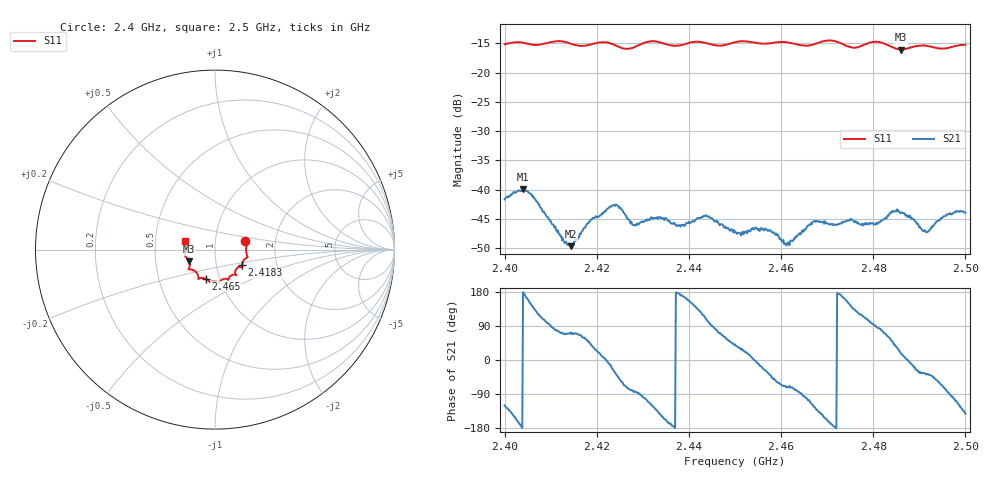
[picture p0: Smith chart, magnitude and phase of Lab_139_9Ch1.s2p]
# Hz S RI R 50
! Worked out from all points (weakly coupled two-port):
!   601 points, 2.4 GHz to 2.5 GHz, reference 50 ohm
!   highest |S21| = -39.97 dB at 2.404 GHz (marker M1); lowest = -49.7 dB at 2.4143 GHz (marker M2)
!   lowest |S11| = -16.0 dB at 2.486 GHz (marker M3), VSWR 1.38, Z = 37.1 - j4.98 ohm
!   |S11| at or under -10 dB: start of sweep to end of sweep
!   S12 and S22 are empty: the file has one direction only
!   S11 on the Smith chart (normalised r, x): 2.4 GHz: 1.40, +0.13; 2.4183 GHz: 1.33, -0.24; 2.465 GHz: 0.86, -0.29; 2.5 GHz: 0.71, +0.07
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2.4e9  0.1689 0.0455  -0.00414 -0.00713  0 0  0 0
2.404e9  0.1783 0.0269  -0.01 0.000217  0 0  0 0
2.406167e9  0.1731 0.00727  -0.00674 0.00572  0 0  0 0
2.414333e9  0.1704 -0.0487  0.000967 0.00314  0 0  0 0
2.416667e9  0.155 -0.0684  0.0019 0.0039  0 0  0 0
2.418333e9  0.1499 -0.0871  0.00356 0.00389  0 0  0 0
2.424e9  0.1422 -0.096  0.0061 -0.00396  0 0  0 0
2.428167e9  0.1135 -0.1205  0.000629 -0.00496  0 0  0 0
2.433333e9  0.1166 -0.1415  -0.00416 -0.00377  0 0  0 0
2.437667e9  0.0845 -0.148  -0.0049 0.000367  0 0  0 0
2.443833e9  0.0691 -0.1647  -0.00175 0.00572  0 0  0 0
2.45e9  0.0253 -0.1807  0.00328 0.00286  0 0  0 0
2.457e9  -0.01 -0.1772  0.00384 -0.0024  0 0  0 0
2.461333e9  -0.031 -0.1791  0.00114 -0.0032  0 0  0 0
2.465e9  -0.0527 -0.162  -0.000486 -0.00443  0 0  0 0
2.466667e9  -0.0712 -0.1577  -0.00223 -0.00454  0 0  0 0
2.4805e9  -0.1476 -0.11  -3.64e-05 0.00503  0 0  0 0
2.483333e9  -0.1418 -0.0958  0.00296 0.00522  0 0  0 0
2.486e9  -0.1438 -0.0654  0.00603 0.00192  0 0  0 0
2.4915e9  -0.1674 -0.0306  0.00337 -0.00266  0 0  0 0
2.495667e9  -0.1611 0.0127  0.00141 -0.00575  0 0  0 0
2.5e9  -0.1667 0.0473  -0.00493 -0.00393  0 0  0 0
